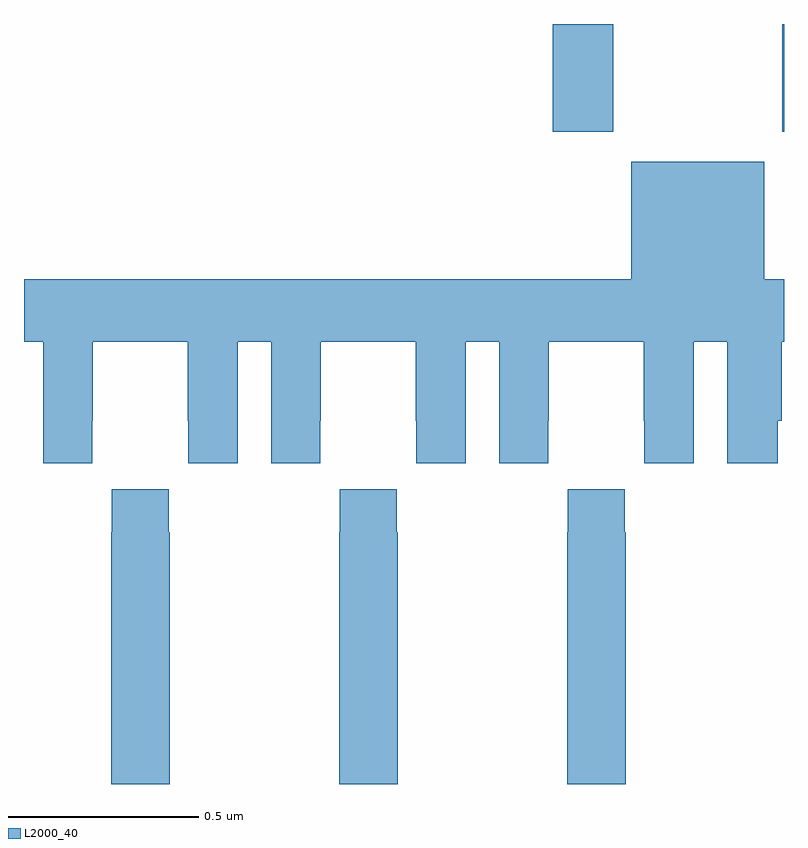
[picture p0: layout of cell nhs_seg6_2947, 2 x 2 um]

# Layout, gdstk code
import gdstk
lib = gdstk.Library(unit=1e-6, precision=1e-09)
def R(c, l, rs):  # rectangles x0, y0, x1, y1
    for r in rs: c.add(gdstk.rectangle(r[:2], r[2:], *l))
def P(c, l, *ps):  # polygons
    for p in ps: c.add(gdstk.Polygon(p, *l))
L2000_40 = (2000, 40)

nhs_seg6_2947 = lib.new_cell('nhs_seg6_2947')
R(nhs_seg6_2947, L2000_40, [(151.391,953.217,151.551,953.5), (151.996,953.217,152,953.5)])
P(nhs_seg6_2947, L2000_40, [(150.18,952.456),(150.181,952.456),(150.181,952.664),(150.431,952.664),(150.431,952.456),(150.432,952.456),(150.432,952.344),(150.562,952.344),(150.562,952.664),(150.65,952.664),(150.65,952.344),(150.78,952.344),(150.78,952.456),(150.781,952.456),(150.781,952.664),(151.031,952.664),(151.031,952.456),(151.032,952.456),(151.032,952.344),(151.162,952.344),(151.162,952.664),(151.25,952.664),(151.25,952.344),(151.38,952.344),(151.38,952.456),(151.381,952.456),(151.381,952.664),(151.631,952.664),(151.631,952.456),(151.632,952.456),(151.632,952.344),(151.762,952.344),(151.762,952.664),(151.85,952.664),(151.85,952.344),(151.984,952.344),(151.984,952.456),(151.994,952.456),(151.994,952.664),(152,952.664),(152,952.828),(151.948,952.828),(151.948,953.137),(151.598,953.137),(151.598,952.828),(150,952.828),(150,952.664),(150.05,952.664),(150.05,952.344),(150.18,952.344)],
  [(150.384,952.163),(150.381,952.163),(150.381,952.276),(150.231,952.276),(150.231,952.163),(150.229,952.163),(150.229,951.5),(150.384,951.5)],
  [(150.984,952.163),(150.981,952.163),(150.981,952.276),(150.831,952.276),(150.831,952.163),(150.829,952.163),(150.829,951.5),(150.984,951.5)],
  [(151.584,952.163),(151.581,952.163),(151.581,952.276),(151.431,952.276),(151.431,952.163),(151.429,952.163),(151.429,951.5),(151.584,951.5)])

lib.write_gds('nhs_seg6_2947.gds')
